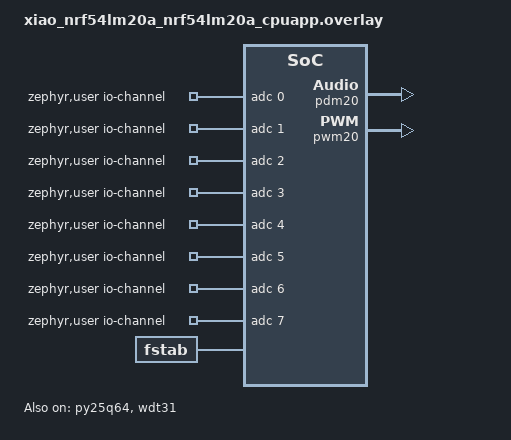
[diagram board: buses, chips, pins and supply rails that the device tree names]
/*
 * Copyright (c) 2026 Seeed Technology Co., Ltd.
 *
 * SPDX-License-Identifier: Apache-2.0
 */

/* Remove the small internal-RRAM storage partition. */
/delete-node/ &storage_partition;

/* The board's user storage is the external 64-Mbit PY25Q64HA SPI NOR.
 * Keep the MCUboot/app partitions in internal RRAM and expose the external
 * flash as the MicroPython filesystem block device. */
&py25q64 {
	status = "okay";

	partitions {
		compatible = "fixed-partitions";
		#address-cells = <1>;
		#size-cells = <1>;

		storage_partition: partition@0 {
			label = "storage";
			reg = <0x0 0x800000>;
		};
	};
};

/ {
    zephyr,user {
        io-channels = <&adc 0>, <&adc 1>, <&adc 2>, <&adc 3>, <&adc 4>, <&adc 5>, <&adc 6>, <&adc 7>;
    };
};

/ {
    fstab {
        compatible = "zephyr,fstab";
        lfs1: lfs1 {
            compatible = "zephyr,fstab,littlefs";
            mount-point = "/flash";
            partition = <&storage_partition>;
            automount;
            read-size = <32>;
            prog-size = <32>;
            cache-size = <128>;
            lookahead-size = <64>;
            block-cycles = <2048>;
        };
    };
};

&pdm20 {
    status = "okay";
};

&pwm20 {
    status = "okay";
};

&wdt31 {
    status = "okay";
};
